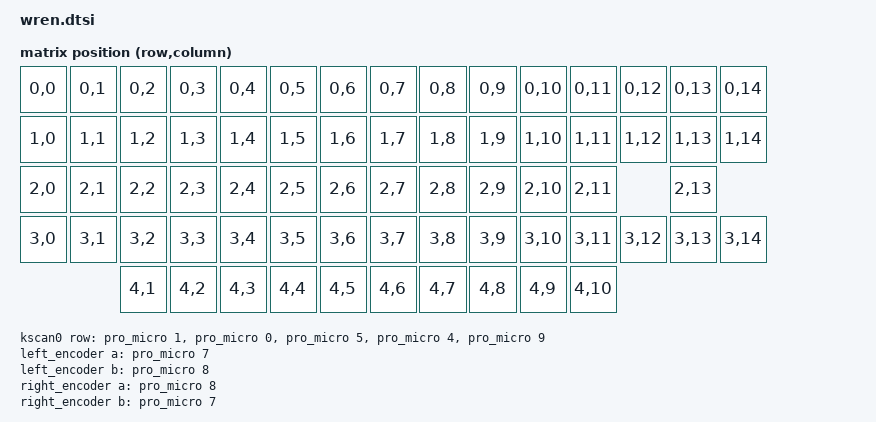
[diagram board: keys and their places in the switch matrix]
#include <dt-bindings/zmk/matrix_transform.h>
#include "wren-layouts.dtsi"

/ {
    zmk_studio_unlock: studio_unlock {
        compatible = "zmk,studio-unlock";
    };
};

/ {
    chosen {
        zmk,physical-layout = &physical_layout0;
        // Other chosen items
    };
};

/ {
    kscan0: kscan0 {
        compatible = "zmk,kscan-gpio-matrix";
        diode-direction = "col2row";
        wakeup-source;

        row-gpios
            = <&pro_micro 1 (GPIO_ACTIVE_HIGH | GPIO_PULL_DOWN)>
            , <&pro_micro 0 (GPIO_ACTIVE_HIGH | GPIO_PULL_DOWN)>
            , <&pro_micro 5 (GPIO_ACTIVE_HIGH | GPIO_PULL_DOWN)>
            , <&pro_micro 4 (GPIO_ACTIVE_HIGH | GPIO_PULL_DOWN)>
            , <&pro_micro 9 (GPIO_ACTIVE_HIGH | GPIO_PULL_DOWN)>
            ;
    };
    left_encoder: encoder_left {
        compatible = "alps,ec11";
        a-gpios = <&pro_micro 7 (GPIO_ACTIVE_HIGH | GPIO_PULL_UP)>;
        b-gpios = <&pro_micro 8 (GPIO_ACTIVE_HIGH | GPIO_PULL_UP)>;
        steps = <80>;
        status = "disabled";
    };
    right_encoder: encoder_right {
        compatible = "alps,ec11";
        a-gpios = <&pro_micro 8 (GPIO_ACTIVE_HIGH | GPIO_PULL_UP)>;
        b-gpios = <&pro_micro 7 (GPIO_ACTIVE_HIGH | GPIO_PULL_UP)>;
        steps = <80>;
        status = "disabled";
    };
};

/ {
    matrix_transform0: keymap_transform0 {
        compatible = "zmk,matrix-transform";
        columns = <15>;
        rows = <5>;

// | LKey 6  | LKey 5  | LKey 4  | LKey 3  | LKey 2  | LKey 1  |                       | RKey 1  | RKey 2  | RKey 3  | RKey 4  | RKey 5  | RKey 6  | RKey 30 | RKey 31 | RKey 32 |
// | LKey 12 | LKey 11 | LKey 10 | LKey 9  | LKey 8  | LKey 7  |                       | RKey 7  | RKey 8  | RKey 9  | RKey 10 | RKey 11 | RKey 12 | RKey 33 | RKey 34 | RKey 35 |
// | LKey 18 | LKey 17 | LKey 16 | LKey 15 | LKey 14 | LKey 13 |                       | RKey 13 | RKey 14 | RKey 15 | RKey 16 | RKey 17 | RKey 18 |         | RKey 36 |         |
// | LKey 24 | LKey 23 | LKey 22 | LKey 21 | LKey 20 | LKey 19 |                       | RKey 19 | RKey 20 | RKey 21 | RKey 22 | RKey 23 | RKey 24 | RKey 37 | RKey 38 | RKey 39 |
//                     | LKey 29 | LKey 28 | LKey 27 | LKey 26 | LKey 25 |   | RKey 25 | RKey 26 | RKey 27 | RKey 28 | RKey 29 |
        
        map = <
RC(0,0) RC(0,1) RC(0,2) RC(0,3) RC(0,4) RC(0,5)                       RC(0,6) RC(0,7) RC(0,8) RC(0,9) RC(0,10) RC(0,11) RC(0,12) RC(0,13) RC(0,14) 
RC(1,0) RC(1,1) RC(1,2) RC(1,3) RC(1,4) RC(1,5)                       RC(1,6) RC(1,7) RC(1,8) RC(1,9) RC(1,10) RC(1,11) RC(1,12) RC(1,13) RC(1,14)
RC(2,0) RC(2,1) RC(2,2) RC(2,3) RC(2,4) RC(2,5)                       RC(2,6) RC(2,7) RC(2,8) RC(2,9) RC(2,10) RC(2,11)          RC(2,13)         
RC(3,0) RC(3,1) RC(3,2) RC(3,3) RC(3,4) RC(3,5)                       RC(3,6) RC(3,7) RC(3,8) RC(3,9) RC(3,10) RC(3,11) RC(3,12) RC(3,13) RC(3,14)
                RC(4,1) RC(4,2) RC(4,3) RC(4,4) RC(4,5)       RC(4,6) RC(4,7) RC(4,8) RC(4,9) RC(4,10)
        
        >;
    };
};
